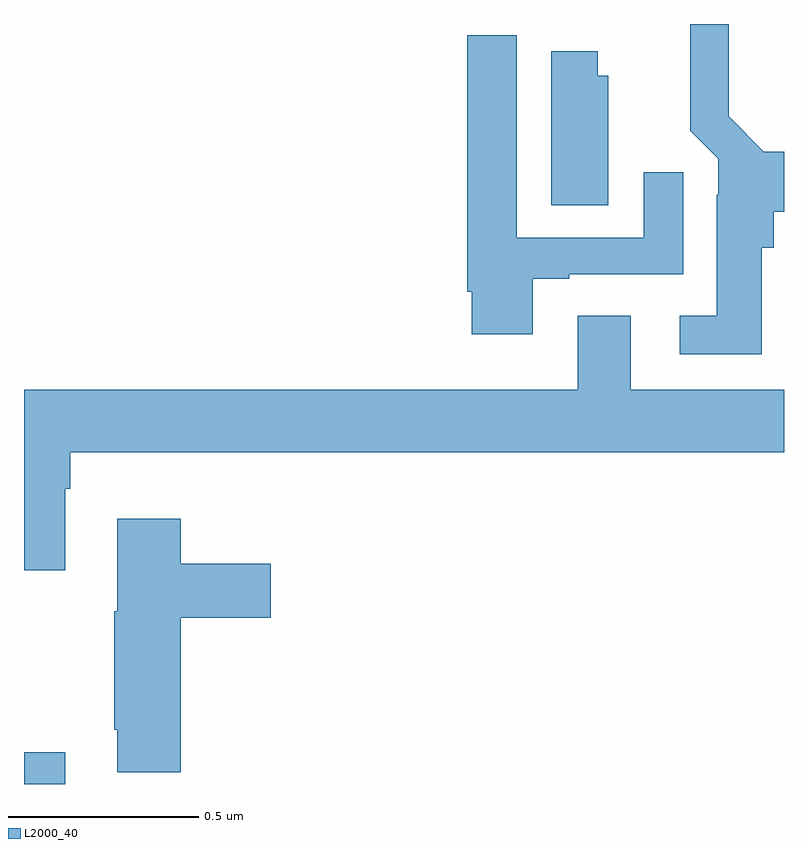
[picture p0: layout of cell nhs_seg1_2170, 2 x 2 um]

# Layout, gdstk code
import gdstk
lib = gdstk.Library(unit=1e-6, precision=1e-09)
def R(c, l, rs):  # rectangles x0, y0, x1, y1
    for r in rs: c.add(gdstk.rectangle(r[:2], r[2:], *l))
def P(c, l, *ps):  # polygons
    for p in ps: c.add(gdstk.Polygon(p, *l))
L2000_40 = (2000, 40)

nhs_seg1_2170 = lib.new_cell('nhs_seg1_2170')
R(nhs_seg1_2170, L2000_40, [(138,544.199,138.109,544.282)])
P(nhs_seg1_2170, L2000_40, [(139.942,545.61),(139.973,545.61),(139.973,545.705),(140,545.705),(140,545.863),(139.947,545.863),(139.855,545.956),(139.855,546.199),(139.753,546.199),(139.753,545.918),(139.827,545.844),(139.827,545.75),(139.823,545.75),(139.823,545.431),(139.725,545.431),(139.725,545.33),(139.942,545.33)],
  [(139.339,545.529),(139.435,545.529),(139.435,545.541),(139.735,545.541),(139.735,545.809),(139.631,545.809),(139.631,545.637),(139.297,545.637),(139.297,546.169),(139.166,546.169),(139.166,545.494),(139.178,545.494),(139.178,545.382),(139.339,545.382)],
  [(139.537,546.063),(139.51,546.063),(139.51,546.127),(139.388,546.127),(139.388,545.722),(139.537,545.722)],
  [(138.109,544.976),(138.122,544.976),(138.122,545.072),(140,545.072),(140,545.236),(139.597,545.236),(139.597,545.431),(139.457,545.431),(139.457,545.236),(138,545.236),(138,544.761),(138.109,544.761)],
  [(138.413,544.637),(138.649,544.637),(138.649,544.779),(138.413,544.779),(138.413,544.897),(138.245,544.897),(138.245,544.653),(138.238,544.653),(138.238,544.342),(138.245,544.342),(138.245,544.23),(138.413,544.23)])

lib.write_gds('nhs_seg1_2170.gds')
